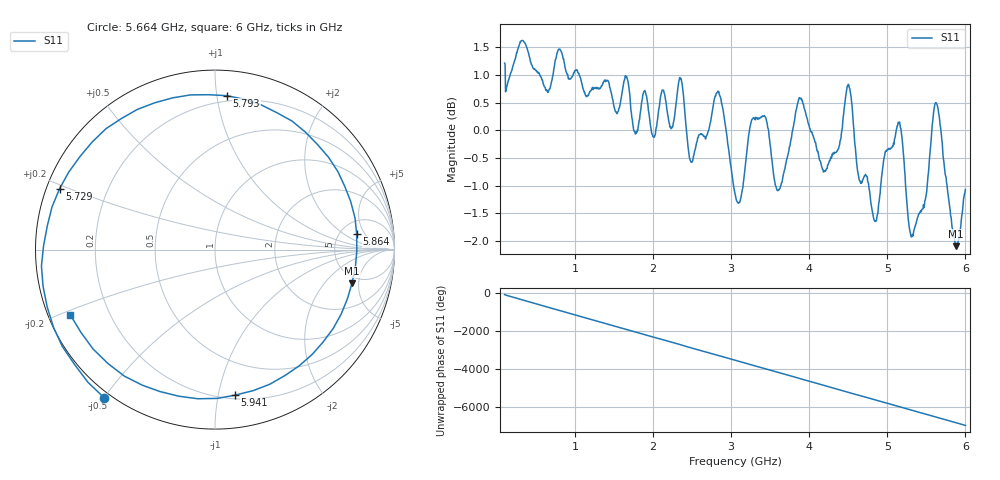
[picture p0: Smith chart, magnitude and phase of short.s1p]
# Hz S DB R 50
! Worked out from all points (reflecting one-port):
!   1001 points, 100 MHz to 6 GHz, reference 50 ohm
!   lowest |S11| = -2.1 dB at 5.882 GHz (marker M1), VSWR 8.35, Z = 209 - j206 ohm
!   phase of S11 starts at -103 deg and turns -6892 deg over the sweep
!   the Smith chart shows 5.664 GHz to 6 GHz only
!   S11 on the Smith chart (normalised r, x): 5.664 GHz: -0.02, -0.50; 5.729 GHz: 0.04, +0.19; 5.793 GHz: 0.16, +1.07; 5.864 GHz: 7.10, +3.35; 5.941 GHz: 0.23, -1.12; 6 GHz: 0.06, -0.21
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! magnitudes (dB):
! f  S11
! 100 MHz  1.2
! 837.5 MHz  1.4
! 1.575 GHz  0.4
! 2.006 GHz  -0.1
! 2.312 GHz  0.7
! 2.495 GHz  -0.6
! 2.844 GHz  0.7
! 3.05 GHz  -1.1
! 3.286 GHz  0.2
! 3.445 GHz  0.2
! 3.599 GHz  -1.1
! 3.788 GHz  0.0
! 3.9 GHz  0.6
! 4.2 GHz  -0.7
! 4.525 GHz  0.7
! 4.631 GHz  -0.8
! 4.832 GHz  -1.6
! 5.144 GHz  0.1
! 5.263 GHz  -1.5
! 5.463 GHz  -1.3
! 5.599 GHz  0.4
! 5.664 GHz  0.3
! 5.729 GHz  -0.6
! 5.793 GHz  -1.3
! 5.864 GHz  -2.0
! 5.882 GHz  -2.1
! 5.941 GHz  -1.7
! 6 GHz  -1.1
